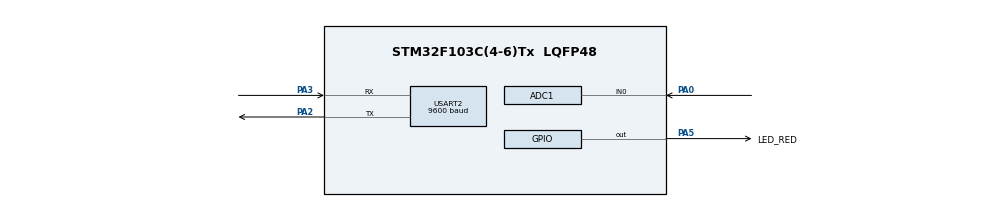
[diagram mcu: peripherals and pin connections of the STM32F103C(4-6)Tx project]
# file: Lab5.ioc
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ADC1.Channel-0\#ChannelRegularConversion=ADC_CHANNEL_0
ADC1.ContinuousConvMode=ENABLE
ADC1.NbrOfConversionFlag=1
ADC1.Rank-0\#ChannelRegularConversion=1
ADC1.SamplingTime-0\#ChannelRegularConversion=ADC_SAMPLETIME_1CYCLE_5
ADC1.master=1
Mcu.Family=STM32F1
Mcu.Name=STM32F103C(4-6)Tx
Mcu.Package=LQFP48
NVIC.PriorityGroup=NVIC_PRIORITYGROUP_4
NVIC.USART2_IRQn=true\:0\:0\:false\:false\:true\:true\:true\:true
PA0-WKUP.Signal=ADCx_IN0
PA2.Mode=Asynchronous
PA2.Signal=USART2_TX
PA3.Mode=Asynchronous
PA3.Signal=USART2_RX
PA5.GPIO_Label=LED_RED
PA5.Signal=GPIO_Output
ProjectManager.HeapSize=0x200
ProjectManager.StackSize=0x400
ProjectManager.TargetToolchain=STM32CubeIDE
RCC.APB1Freq_Value=8000000
RCC.APB2Freq_Value=8000000
SH.ADCx_IN0.0=ADC1_IN0,IN0
USART2.BaudRate=9600
USART2.VirtualMode=VM_ASYNC
VP_SYS_VS_ND.Mode=No_Debug
board=custom

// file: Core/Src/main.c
/* USER CODE BEGIN Header */
/**
  ******************************************************************************
  * @file           : main.c
  * @brief          : Main program body
  ******************************************************************************
  * @attention
  *
  * Copyright (c) 2025 STMicroelectronics.
  * All rights reserved.
  *
  * This software is licensed under terms that can be found in the LICENSE file
  * in the root directory of this software component.
  * If no LICENSE file comes with this software, it is provided AS-IS.
  *
  ******************************************************************************
  */
/* USER CODE END Header */
#include "main.h"

/* USER CODE BEGIN Includes */
#include <stdio.h>
#include "fsm.h"
/* USER CODE END Includes */

ADC_HandleTypeDef hadc1;

UART_HandleTypeDef huart2;

void SystemClock_Config(void);
static void MX_GPIO_Init(void);
static void MX_ADC1_Init(void);
static void MX_USART2_UART_Init(void);

int main(void)
{

  /* MCU Configuration--------------------------------------------------------*/

  /* Reset of all peripherals, Initializes the Flash interface and the Systick. */
  HAL_Init();

  /* Configure the system clock */
  SystemClock_Config();

  /* Initialize all configured peripherals */
  MX_GPIO_Init();
  MX_ADC1_Init();
  MX_USART2_UART_Init();
  /* USER CODE BEGIN 2 */
//  HAL_UART_Receive_IT (&huart2, &temp, 1);
  HAL_ADC_Start(&hadc1);

  HAL_UART_Receive_IT(&huart2, &temp, 1);
  char str[50];
  /* USER CODE END 2 */

  /* Infinite loop */
  /* USER CODE BEGIN WHILE */
  uint32_t ADC_value = 0;
  static uint32_t current_time = 0;
  static uint32_t prev_time = 0;
  while (1)
  {
    /* USER CODE END WHILE */

    /* USER CODE BEGIN 3 */
	  if(buffer_flag == 1){
		  command_parser_fsm();
		  buffer_flag = 0;
	  }
	  uart_communication_fsm();

	  current_time = HAL_GetTick();
	  if (current_time - prev_time >= 500)
	  {
		  HAL_GPIO_TogglePin(LED_RED_GPIO_Port, LED_RED_Pin);
		  prev_time = current_time;
	  }

	  // Blinky LED
//	  HAL_GPIO_TogglePin(LED_RED_GPIO_Port, LED_RED_Pin);
//	  HAL_Delay(500);
  }
  /* USER CODE END 3 */
}

void SystemClock_Config(void)
{
  RCC_OscInitTypeDef RCC_OscInitStruct = {0};
  RCC_ClkInitTypeDef RCC_ClkInitStruct = {0};
  RCC_PeriphCLKInitTypeDef PeriphClkInit = {0};

  /** Initializes the RCC Oscillators according to the specified parameters
  * in the RCC_OscInitTypeDef structure.
  */
  RCC_OscInitStruct.OscillatorType = RCC_OSCILLATORTYPE_HSI;
  RCC_OscInitStruct.HSIState = RCC_HSI_ON;
  RCC_OscInitStruct.HSICalibrationValue = RCC_HSICALIBRATION_DEFAULT;
  RCC_OscInitStruct.PLL.PLLState = RCC_PLL_NONE;
  if (HAL_RCC_OscConfig(&RCC_OscInitStruct) != HAL_OK)
  {
    Error_Handler();
  }

  /** Initializes the CPU, AHB and APB buses clocks
  */
  RCC_ClkInitStruct.ClockType = RCC_CLOCKTYPE_HCLK|RCC_CLOCKTYPE_SYSCLK
                              |RCC_CLOCKTYPE_PCLK1|RCC_CLOCKTYPE_PCLK2;
  RCC_ClkInitStruct.SYSCLKSource = RCC_SYSCLKSOURCE_HSI;
  RCC_ClkInitStruct.AHBCLKDivider = RCC_SYSCLK_DIV1;
  RCC_ClkInitStruct.APB1CLKDivider = RCC_HCLK_DIV1;
  RCC_ClkInitStruct.APB2CLKDivider = RCC_HCLK_DIV1;

  if (HAL_RCC_ClockConfig(&RCC_ClkInitStruct, FLASH_LATENCY_0) != HAL_OK)
  {
    Error_Handler();
  }
  PeriphClkInit.PeriphClockSelection = RCC_PERIPHCLK_ADC;
  PeriphClkInit.AdcClockSelection = RCC_ADCPCLK2_DIV2;
  if (HAL_RCCEx_PeriphCLKConfig(&PeriphClkInit) != HAL_OK)
  {
    Error_Handler();
  }
}

static void MX_ADC1_Init(void)
{

  ADC_ChannelConfTypeDef sConfig = {0};

  /** Common config
  */
  hadc1.Instance = ADC1;
  hadc1.Init.ScanConvMode = ADC_SCAN_DISABLE;
  hadc1.Init.ContinuousConvMode = ENABLE;
  hadc1.Init.DiscontinuousConvMode = DISABLE;
  hadc1.Init.ExternalTrigConv = ADC_SOFTWARE_START;
  hadc1.Init.DataAlign = ADC_DATAALIGN_RIGHT;
  hadc1.Init.NbrOfConversion = 1;
  if (HAL_ADC_Init(&hadc1) != HAL_OK)
  {
    Error_Handler();
  }

  /** Configure Regular Channel
  */
  sConfig.Channel = ADC_CHANNEL_0;
  sConfig.Rank = ADC_REGULAR_RANK_1;
  sConfig.SamplingTime = ADC_SAMPLETIME_1CYCLE_5;
  if (HAL_ADC_ConfigChannel(&hadc1, &sConfig) != HAL_OK)
  {
    Error_Handler();
  }

}

static void MX_USART2_UART_Init(void)
{

  huart2.Instance = USART2;
  huart2.Init.BaudRate = 9600;
  huart2.Init.WordLength = UART_WORDLENGTH_8B;
  huart2.Init.StopBits = UART_STOPBITS_1;
  huart2.Init.Parity = UART_PARITY_NONE;
  huart2.Init.Mode = UART_MODE_TX_RX;
  huart2.Init.HwFlowCtl = UART_HWCONTROL_NONE;
  huart2.Init.OverSampling = UART_OVERSAMPLING_16;
  if (HAL_UART_Init(&huart2) != HAL_OK)
  {
    Error_Handler();
  }

}

static void MX_GPIO_Init(void)
{
  GPIO_InitTypeDef GPIO_InitStruct = {0};

  /* GPIO Ports Clock Enable */
  __HAL_RCC_GPIOA_CLK_ENABLE();

  /*Configure GPIO pin Output Level */
  HAL_GPIO_WritePin(LED_RED_GPIO_Port, LED_RED_Pin, GPIO_PIN_RESET);

  /*Configure GPIO pin : LED_RED_Pin */
  GPIO_InitStruct.Pin = LED_RED_Pin;
  GPIO_InitStruct.Mode = GPIO_MODE_OUTPUT_PP;
  GPIO_InitStruct.Pull = GPIO_NOPULL;
  GPIO_InitStruct.Speed = GPIO_SPEED_FREQ_LOW;
  HAL_GPIO_Init(LED_RED_GPIO_Port, &GPIO_InitStruct);

}

void Error_Handler(void)
{
  __disable_irq();
  while (1)
  {
  }
}
